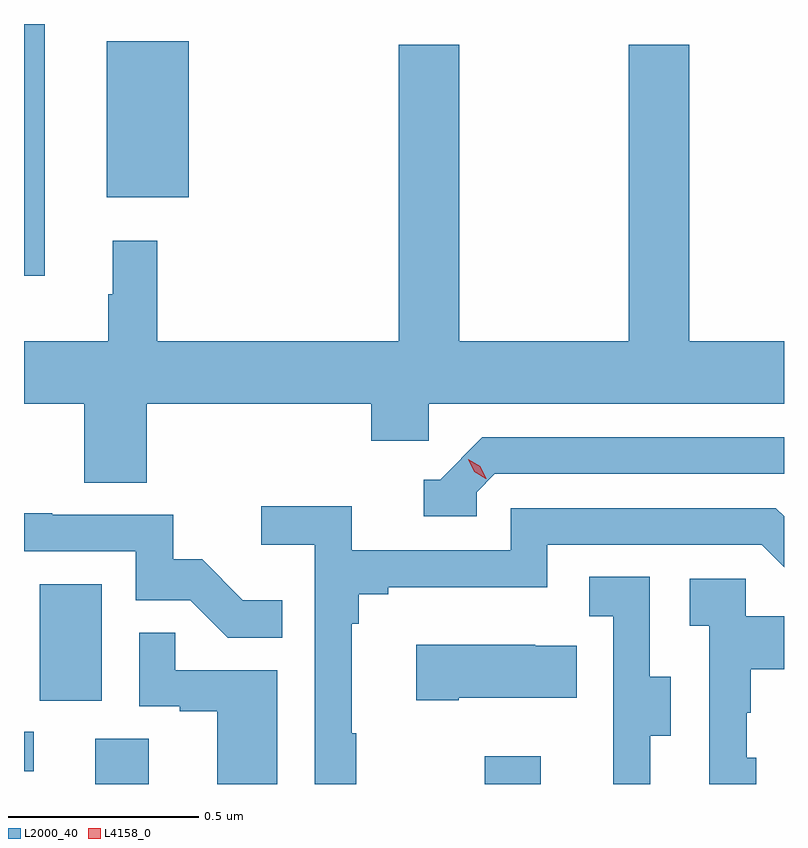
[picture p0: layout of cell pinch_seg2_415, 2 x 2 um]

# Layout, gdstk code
import gdstk
lib = gdstk.Library(unit=1e-6, precision=1e-09)
def R(c, l, rs):  # rectangles x0, y0, x1, y1
    for r in rs: c.add(gdstk.rectangle(r[:2], r[2:], *l))
def P(c, l, *ps):  # polygons
    for p in ps: c.add(gdstk.Polygon(p, *l))
L2000_40 = (2000, 40)
L4158_0 = (4158, 0)

pinch_seg2_415 = lib.new_cell('pinch_seg2_415')
R(pinch_seg2_415, L2000_40, [(953.123,617.331,953.263,617.45), (954.148,617.331,954.295,617.404), (952.935,617.364,952.96,617.469), (952.976,617.55,953.14,617.857), (952.935,618.668,952.99,619.331), (953.153,618.875,953.368,619.285)])
P(pinch_seg2_415, L2000_40, [(953.258,618.332),(953.849,618.332),(953.849,618.234),(954,618.234),(954,618.332),(954.935,618.332),(954.935,618.496),(954.686,618.496),(954.686,619.276),(954.526,619.276),(954.526,618.496),(954.081,618.496),(954.081,619.276),(953.921,619.276),(953.921,618.496),(953.285,618.496),(953.285,618.76),(953.168,618.76),(953.168,618.62),(953.157,618.62),(953.157,618.496),(952.935,618.496),(952.935,618.332),(953.093,618.332),(953.093,618.124),(953.258,618.124)],
  [(954.126,618.099),(954.174,618.147),(954.935,618.147),(954.935,618.243),(954.141,618.243),(954.03,618.132),(953.987,618.132),(953.987,618.036),(954.126,618.036)],
  [(953.809,617.465),(953.797,617.465),(953.797,617.753),(953.816,617.753),(953.816,617.83),(953.893,617.83),(953.893,617.849),(954.312,617.849),(954.312,617.961),(954.876,617.961),(954.935,617.902),(954.935,618.035),(954.913,618.057),(954.216,618.057),(954.216,617.946),(953.798,617.946),(953.798,618.062),(953.559,618.062),(953.559,617.96),(953.7,617.96),(953.7,617.331),(953.809,617.331)],
  [(953.615,617.815),(953.511,617.815),(953.404,617.922),(953.328,617.922),(953.328,618.039),(953.009,618.039),(953.009,618.044),(952.935,618.044),(952.935,617.943),(953.229,617.943),(953.229,617.814),(953.373,617.814),(953.471,617.716),(953.615,617.716)],
  [(954.583,617.458),(954.637,617.458),(954.637,617.613),(954.582,617.613),(954.582,617.876),(954.423,617.876),(954.423,617.773),(954.486,617.773),(954.486,617.469),(954.485,617.469),(954.485,617.331),(954.583,617.331)],
  [(954.862,617.4),(954.837,617.4),(954.837,617.519),(954.847,617.519),(954.847,617.633),(954.935,617.633),(954.935,617.773),(954.834,617.773),(954.834,617.871),(954.687,617.871),(954.687,617.747),(954.738,617.747),(954.738,617.331),(954.862,617.331)],
  [(953.602,617.631),(953.333,617.631),(953.333,617.729),(953.238,617.729),(953.238,617.535),(953.345,617.535),(953.345,617.523),(953.444,617.523),(953.444,617.331),(953.602,617.331)],
  [(954.079,617.558),(954.389,617.558),(954.389,617.695),(954.281,617.695),(954.281,617.698),(953.967,617.698),(953.967,617.551),(954.079,617.551)])
P(pinch_seg2_415, L4158_0, [(954.15,618.134),(954.12,618.153),(954.104,618.186),(954.104,618.186),(954.104,618.186),(954.135,618.167),(954.151,618.134),(954.151,618.134)])

lib.write_gds('pinch_seg2_415.gds')
